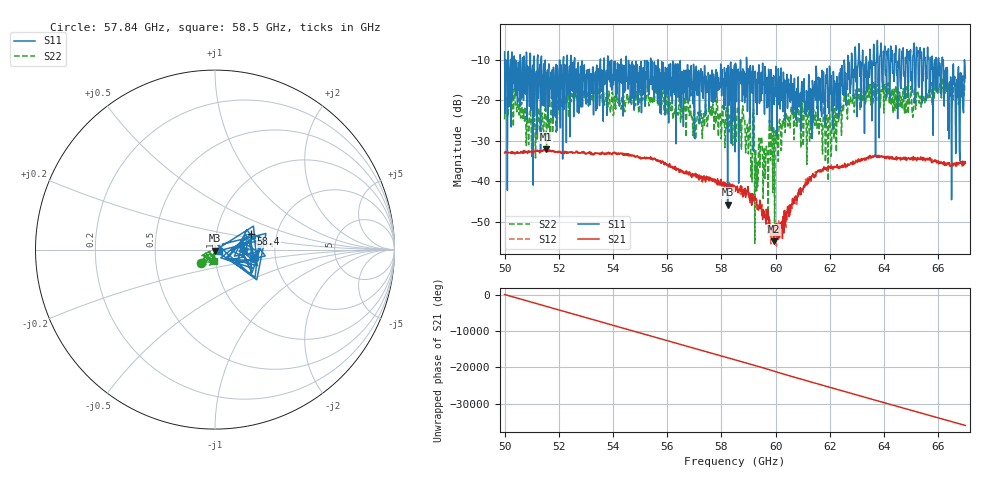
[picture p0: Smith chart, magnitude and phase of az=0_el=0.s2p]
!Created with skrf (http://scikit-rf.org).
# GHz S RI R 50.0
!freq ReS11 ImS11 ReS21 ImS21 ReS12 ImS12 ReS22 ImS22
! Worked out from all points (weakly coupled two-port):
!   1001 points, 50 GHz to 67 GHz, reference 50 ohm
!   highest |S21| = -32.14 dB at 51.53 GHz (marker M1); lowest = -54.9 dB at 59.93 GHz (marker M2)
!   lowest |S11| = -45.8 dB at 58.23 GHz (marker M3), VSWR 1.01, Z = 50 - j0.513 ohm
!   |S11| at or under -10 dB: 52.59 GHz to 53.53 GHz (948.4 MHz wide, 1.79 % of centre); 55.66 GHz to 58.92 GHz (3.263 GHz wide, 5.69 % of centre); 58.93 GHz to 62.66 GHz (3.734 GHz wide, 6.14 % of centre) (the widest 3 of 61)
!   |S22| runs from -55.4 to -13.3 dB; largest |S21 - S12| = 0.0022
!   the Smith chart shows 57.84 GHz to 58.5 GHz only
!   S11 on the Smith chart (normalised r, x): 57.84 GHz: 1.54, -0.16; 58.4 GHz: 1.48, +0.27; 58.5 GHz: 1.05, -0.01
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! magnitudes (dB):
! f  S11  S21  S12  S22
! 50 GHz  -8.0  -33.0  -32.9  -24.7
! 50.15 GHz  -21.6  -33.0  -32.9  -21.0
! 51.53 GHz  -13.4  -32.1  -32.2  -26.4
! 52.84 GHz  -11.8  -32.8  -33.0  -19.7
! 55.68 GHz  -13.2  -35.0  -35.1  -21.0
! 57.84 GHz  -13.1  -40.1  -40.1  -19.2
! 58.23 GHz  -45.8  -41.0  -41.2  -23.7
! 58.4 GHz  -13.2  -40.8  -41.1  -25.9
! 58.5 GHz  -32.7  -42.5  -41.8  -24.0
! 59.11 GHz  -12.9  -46.0  -44.1  -34.9
! 59.32 GHz  -23.5  -47.0  -45.7  -35.4
! 59.44 GHz  -13.9  -46.9  -44.9  -32.5
! 59.64 GHz  -18.3  -50.6  -48.2  -32.3
! 59.93 GHz  -13.9  -54.9  -54.9  -26.8
! 60.64 GHz  -15.8  -45.4  -45.9  -22.3
! 61.34 GHz  -29.5  -38.8  -38.6  -26.6
! 62 GHz  -12.1  -36.5  -36.3  -23.9
! 62.55 GHz  -11.4  -35.6  -36.4  -18.5
! 64.18 GHz  -11.7  -34.1  -33.9  -17.3
! 66.1 GHz  -14.2  -35.6  -35.1  -18.5
! 66.44 GHz  -18.9  -36.1  -35.8  -16.2
! 67 GHz  -14.4  -35.5  -35.2  -14.3
